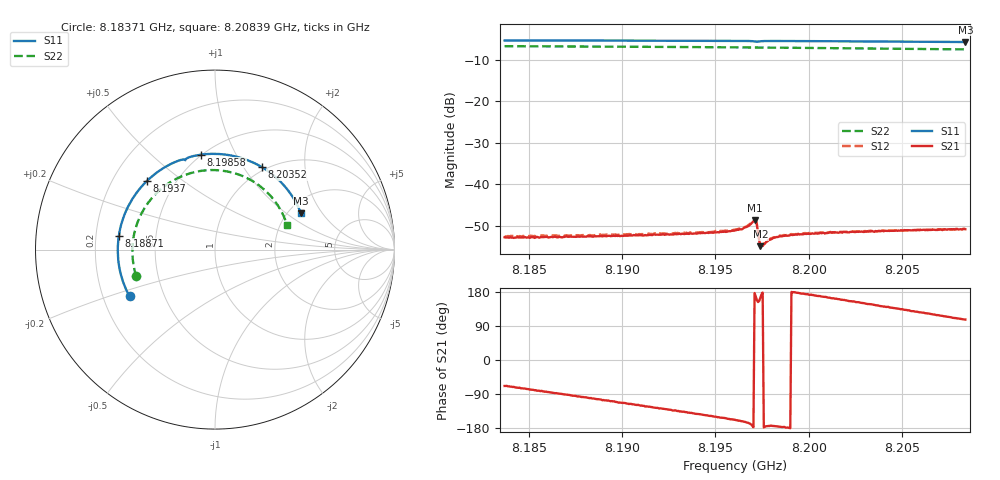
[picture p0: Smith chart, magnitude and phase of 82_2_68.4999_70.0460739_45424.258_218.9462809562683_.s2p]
#  HZ  S  RI  R  50.00
! Rohde & Schwarz Vector Network Analyzer
! Rohde-Schwarz,ZNB20-2Port,1311601062101988,3.16
! Created: UTC 3/20/2024, 5:07:21 PM
! freq[Hz]  re:S11  im:S11  re:S21  im:S21  re:S12  im:S12  re:S22  im:S22
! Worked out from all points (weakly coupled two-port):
!   401 points, 8.18371 GHz to 8.20839 GHz, reference 50 ohm
!   highest |S21| = -48.71 dB at 8.1971 GHz (marker M1); lowest = -54.9 dB at 8.19741 GHz (marker M2)
!   lowest |S11| = -5.7 dB at 8.20839 GHz (marker M3), VSWR 3.17, Z = 117 + j64.6 ohm
!   |S11| at or under -10 dB: nowhere
!   |S22| runs from -7.5 to -6.7 dB; largest |S21 - S12| = 0.00021
!   S11 on the Smith chart (normalised r, x): 8.18371 GHz: 0.31, -0.23; 8.18871 GHz: 0.30, +0.06; 8.1937 GHz: 0.35, +0.37; 8.19858 GHz: 0.50, +0.74; 8.20352 GHz: 0.95, +1.21; 8.20839 GHz: 2.34, +1.29
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8.183707e9  -0.4761 -0.2612  0.000842 -0.00214  0.000832 -0.0022  -0.4384 -0.1494
8.185805e9  -0.5278 -0.1248  0.000289 -0.00229  0.000278 -0.00241  -0.4597 -0.0347
8.187842e9  -0.5414 0.0162  -0.00032 -0.00233  -0.000342 -0.00242  -0.4523 0.078
8.188706e9  -0.5359 0.0765  -0.00055 -0.0023  -0.000589 -0.00237  -0.4406 0.1247
8.190372e9  -0.5065 0.1892  -0.00107 -0.00217  -0.00116 -0.00224  -0.405 0.2098
8.191977e9  -0.4556 0.2894  -0.00152 -0.00195  -0.0016 -0.00198  -0.3547 0.2836
8.193705e9  -0.3788 0.3831  -0.00194 -0.00165  -0.00206 -0.00161  -0.2854 0.3504
8.19605e9  -0.2437 0.4782  -0.00258 -0.00105  -0.00269 -0.000935  -0.171 0.4143
8.196606e9  -0.2067 0.4942  -0.00291 -0.000855  -0.00298 -0.000768  -0.1414 0.4245
8.197099e9  -0.1697 0.5008  -0.00366 0.000209  -0.00375 0.000392  -0.1145 0.4313
8.197161e9  -0.1662 0.4991  -0.00355 0.000771  -0.00357 0.000984  -0.111 0.4322
8.197223e9  -0.1651 0.4977  -0.00301 0.00121  -0.00304 0.00134  -0.1077 0.4328
8.197408e9  -0.1607 0.5059  -0.00173 0.000495  -0.00179 0.000579  -0.0976 0.4353
8.197531e9  -0.1521 0.5111  -0.00181 5.87e-05  -0.00183 0.000152  -0.0908 0.4364
8.198025e9  -0.1163 0.5222  -0.00219 -0.000238  -0.00225 -0.000136  -0.0631 0.4406
8.19858e9  -0.0768 0.529  -0.00236 -0.00012  -0.00242 -2.48e-05  -0.0317 0.4429
8.200185e9  0.0368 0.5315  -0.00254 0.000385  -0.00255 0.000493  0.0591 0.4369
8.201913e9  0.1562 0.5073  -0.00248 0.000983  -0.00244 0.00109  0.1541 0.4097
8.203518e9  0.2594 0.4604  -0.0022 0.00152  -0.00216 0.00165  0.2351 0.3653
8.20432e9  0.3067 0.4288  -0.00207 0.00181  -0.00202 0.0019  0.2716 0.3367
8.20648e9  0.4142 0.3203  -0.0015 0.00241  -0.00142 0.00244  0.3537 0.2409
8.208393e9  0.4794 0.2013  -0.000831 0.00276  -0.000724 0.00283  0.4007 0.1376
